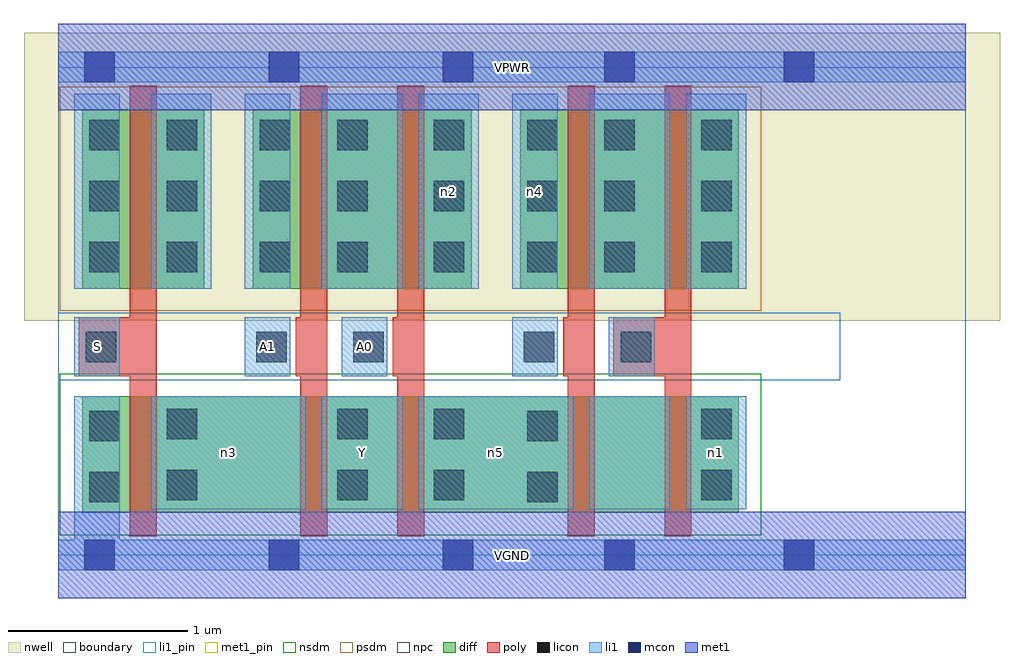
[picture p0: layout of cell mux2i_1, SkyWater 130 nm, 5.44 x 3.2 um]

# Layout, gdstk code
import gdstk
lib = gdstk.Library(unit=1e-6, precision=1e-09)
def R(c, l, rs):  # rectangles x0, y0, x1, y1
    for r in rs: c.add(gdstk.rectangle(r[:2], r[2:], *l))
def A(c, l, x, y, w, h, nx, ny, dx, dy):  # array of equal rectangles
    R(c, l, [(x+i*dx, y+j*dy, x+i*dx+w, y+j*dy+h) for i in range(nx) for j in range(ny)])
nwell = (64, 20)
diff = (65, 20)
poly = (66, 20)
licon = (66, 44)
li1_pin = (67, 16)
li1 = (67, 20)
mcon = (67, 44)
met1_pin = (68, 16)
met1 = (68, 20)
nsdm = (93, 44)
psdm = (94, 20)
npc = (95, 20)
boundary = (235, 4)

mux2i_1 = lib.new_cell('mux2i_1')
R(mux2i_1, nwell, [(-0.19,1.305,5.25,2.91), (0,1.305,5.06,2.91)])
R(mux2i_1, diff, [(0.135,0.235,3.795,0.885), (0.135,1.485,0.815,2.485), (1.085,1.485,2.305,2.485), (2.575,1.485,3.795,2.485)])
R(mux2i_1, poly, [(0.4,0.105,0.55,2.615), (1.35,0.105,1.5,2.615), (1.89,0.105,2.04,2.615), (2.84,0.105,2.99,2.615), (3.38,0.105,3.53,2.615), (0.115,0.995,0.55,1.325), (1.325,0.995,1.5,1.325), (1.865,0.995,2.04,1.325), (2.815,0.995,2.99,1.325), (3.095,0.995,3.53,1.325)])
A(mux2i_1, licon, 0.175, 1.575, 0.17, 0.17, 1, 3, 0, 0.34)
A(mux2i_1, licon, 0.605, 1.575, 0.17, 0.17, 1, 3, 0, 0.34)
A(mux2i_1, licon, 1.125, 1.575, 0.17, 0.17, 1, 3, 0, 0.34)
A(mux2i_1, licon, 1.555, 1.575, 0.17, 0.17, 1, 3, 0, 0.34)
A(mux2i_1, licon, 2.095, 1.575, 0.17, 0.17, 1, 3, 0, 0.34)
A(mux2i_1, licon, 2.615, 1.575, 0.17, 0.17, 1, 3, 0, 0.34)
A(mux2i_1, licon, 3.045, 1.575, 0.17, 0.17, 1, 3, 0, 0.34)
A(mux2i_1, licon, 3.585, 1.575, 0.17, 0.17, 1, 3, 0, 0.34)
R(mux2i_1, licon, [(0.175,0.295,0.345,0.465), (2.615,0.295,2.785,0.465), (0.605,0.305,0.775,0.475), (1.555,0.305,1.725,0.475), (2.095,0.305,2.265,0.475), (3.585,0.305,3.755,0.475), (0.175,0.635,0.345,0.805), (2.615,0.635,2.785,0.805), (0.605,0.645,0.775,0.815), (1.555,0.645,1.725,0.815), (2.095,0.645,2.265,0.815), (3.585,0.645,3.755,0.815), (0.155,1.075,0.325,1.245), (1.105,1.075,1.275,1.245), (1.645,1.075,1.815,1.245), (2.595,1.075,2.765,1.245), (3.135,1.075,3.305,1.245)])
R(mux2i_1, li1_pin, [(1.47,0.255,1.92,0.885), (0.09,0.995,0.345,1.325), (1.04,0.995,1.295,1.325), (1.58,0.995,1.835,1.325)])
A(mux2i_1, li1, 0.52, 1.485, 0.335, 1.085, 3, 1, 1.49, 0)
R(mux2i_1, li1, [(0,-0.085,5.06,0.085), (0.09,-0.085,0.345,0.885), (0.52,0.255,1.38,0.885), (1.47,0.255,1.92,0.885), (2.01,0.255,2.87,0.885), (2.96,0.255,3.41,0.885), (3.5,0.255,3.835,0.885), (0.09,0.995,0.345,1.325), (1.04,0.995,1.295,1.325), (1.58,0.995,1.835,1.325), (2.53,0.995,2.785,1.325), (3.07,0.995,3.325,1.325), (0.09,1.485,0.345,2.57), (1.04,1.485,1.295,2.57), (1.47,1.485,1.92,2.57), (2.53,1.485,2.785,2.57), (2.96,1.485,3.41,2.57), (0,2.635,5.06,2.805)])
R(mux2i_1, mcon, [(0.145,-0.085,0.315,0.085), (1.175,-0.085,1.345,0.085), (2.145,-0.085,2.315,0.085), (3.045,-0.085,3.215,0.085), (4.045,-0.085,4.215,0.085), (0.145,2.635,0.315,2.805), (1.175,2.635,1.345,2.805), (2.145,2.635,2.315,2.805), (3.045,2.635,3.215,2.805), (4.045,2.635,4.215,2.805)])
R(mux2i_1, met1_pin, [(0,-0.24,5.06,0.24), (0,2.48,5.06,2.96)])
R(mux2i_1, met1, [(0,-0.24,5.06,0.24), (0,2.48,5.06,2.96)])
R(mux2i_1, nsdm, [(0.01,0.11,3.92,1.01)])
R(mux2i_1, psdm, [(0.01,1.36,3.92,2.61)])
R(mux2i_1, npc, [(0,0.975,4.36,1.35)])
R(mux2i_1, boundary, [(0,0,5.06,2.72)])
mux2i_1.add(gdstk.Label('A0', (1.707,1.16), layer=67, texttype=5))
mux2i_1.add(gdstk.Label('A1', (1.167,1.16), layer=67, texttype=5))
mux2i_1.add(gdstk.Label('S', (0.217,1.16), layer=67, texttype=5))
mux2i_1.add(gdstk.Label('Y', (1.695,0.57), layer=67, texttype=5))
mux2i_1.add(gdstk.Label('n3', (0.95,0.57), layer=67, texttype=5))
mux2i_1.add(gdstk.Label('n5', (2.44,0.57), layer=67, texttype=5))
mux2i_1.add(gdstk.Label('n1', (3.667,0.57), layer=67, texttype=5))
mux2i_1.add(gdstk.Label('n2', (2.177,2.027), layer=67, texttype=5))
mux2i_1.add(gdstk.Label('n4', (2.657,2.027), layer=67, texttype=5))
mux2i_1.add(gdstk.Label('VPWR', (2.53,2.72), layer=68, texttype=5))
mux2i_1.add(gdstk.Label('VGND', (2.53,0), layer=68, texttype=5))
mux2i_1.add(gdstk.Label('A0', (1.707,1.16), layer=67, texttype=16))
mux2i_1.add(gdstk.Label('A1', (1.167,1.16), layer=67, texttype=16))
mux2i_1.add(gdstk.Label('S', (0.217,1.16), layer=67, texttype=16))
mux2i_1.add(gdstk.Label('Y', (1.695,0.57), layer=67, texttype=16))
mux2i_1.add(gdstk.Label('VPWR', (2.53,2.72), layer=68, texttype=16))
mux2i_1.add(gdstk.Label('VGND', (2.53,0), layer=68, texttype=16))

lib.write_gds('mux2i_1.gds')
